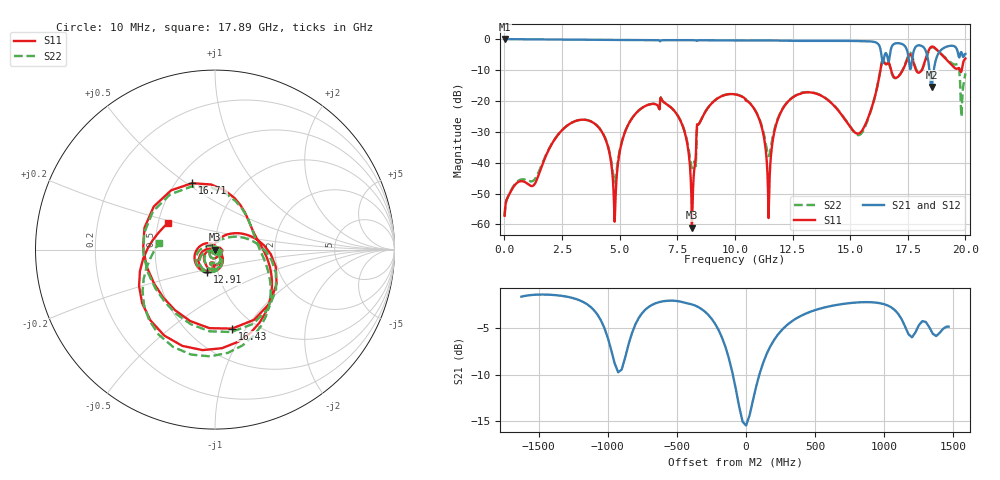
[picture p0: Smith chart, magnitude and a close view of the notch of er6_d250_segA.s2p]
! Stitch-rule transferability - stripline, 2 mm stitch pitch, cut at x=20 mm
! Case: er6_d250_segA
! Sweep: 10 MHz - 20 GHz, 25 MHz step, 4 cores
# GHz S MA R 50.000000
! Terminal data exported
! Port[1] = U1.PAD1.SIG
! Port[2] = U2.PAD1.SIG
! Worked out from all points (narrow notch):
!   801 points, 10 MHz to 20 GHz, reference 50 ohm
!   highest |S21| = -0.01 dB at 10 MHz (marker M1); lowest = -15.5 dB at 18.54 GHz (marker M2)
!   notch at M2: 15.0 dB deep, 272 MHz wide at half that depth
!   lowest |S11| = -61.0 dB at 8.135 GHz (marker M3), VSWR 1.00, Z = 49.9 - j0.0453 ohm
!   |S11| at or under -10 dB: start of sweep to 16.31 GHz; 16.78 GHz to 17.29 GHz (509.5 MHz wide, 2.99 % of centre); 17.86 GHz to 18.11 GHz (257.8 MHz wide, 1.43 % of centre)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
!   |S22| runs from -57.2 to -2.6 dB; largest |S21 - S12| = 0
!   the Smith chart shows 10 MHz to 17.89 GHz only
!   S11 on the Smith chart (normalised r, x): 10 MHz: 1.00, +0.00; 12.91 GHz: 0.89, -0.23; 16.43 GHz: 0.79, -0.87; 16.71 GHz: 0.60, +0.53; 17.89 GHz: 0.56, +0.18
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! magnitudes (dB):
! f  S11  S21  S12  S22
! 10 MHz  -57.2  0.0  0.0  -57.2
! 3.36 GHz  -26.1  -0.2  -0.2  -26.1
! 4.335 GHz  -31.5  -0.2  -0.2  -31.4
! 4.785 GHz  -59.1  -0.2  -0.2  -46.4
! 5.385 GHz  -27.5  -0.3  -0.3  -27.5
! 6.685 GHz  -22.0  -0.4  -0.4  -21.9
! 7.685 GHz  -27.2  -0.4  -0.4  -27.0
! 8.135 GHz  -61.0  -0.4  -0.4  -41.8
! 8.46 GHz  -27.3  -0.4  -0.4  -27.2
! 10.01 GHz  -17.9  -0.5  -0.5  -17.9
! 11.01 GHz  -25.1  -0.5  -0.5  -24.9
! 11.46 GHz  -57.9  -0.5  -0.5  -37.9
! 11.91 GHz  -25.1  -0.5  -0.5  -24.8
! 12.91 GHz  -17.5  -0.6  -0.6  -17.3
! 13.36 GHz  -17.4  -0.6  -0.6  -17.3
! 15.41 GHz  -30.4  -0.6  -0.6  -31.0
! 16.43 GHz  -6.9  -7.6  -7.6  -6.6
! 16.68 GHz  -7.7  -7.1  -7.1  -8.0
! 16.71 GHz  -8.1  -5.9  -5.9  -8.5
! 17.89 GHz  -10.4  -2.3  -2.3  -10.1
! 18.54 GHz  -2.5  -15.5  -15.5  -2.7
! 20 GHz  -6.3  -4.8  -4.8  -11.1
